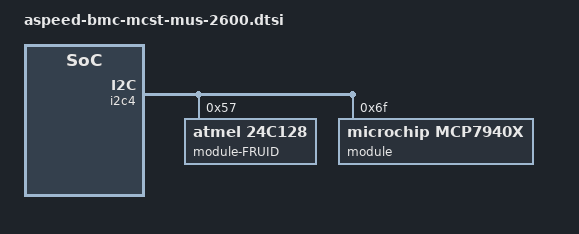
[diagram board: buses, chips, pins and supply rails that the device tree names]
// SPDX-License-Identifier: GPL-2.0+

&i2c4 {
	eeprom@57 {
		compatible = "atmel,24c128";
		reg = <0x57>;
		label = "module-FRUID";
	};

	mcp7940@6f {
		compatible = "microchip,mcp7940x";
		reg = <0x6f>;
		label = "module";
	};
};
